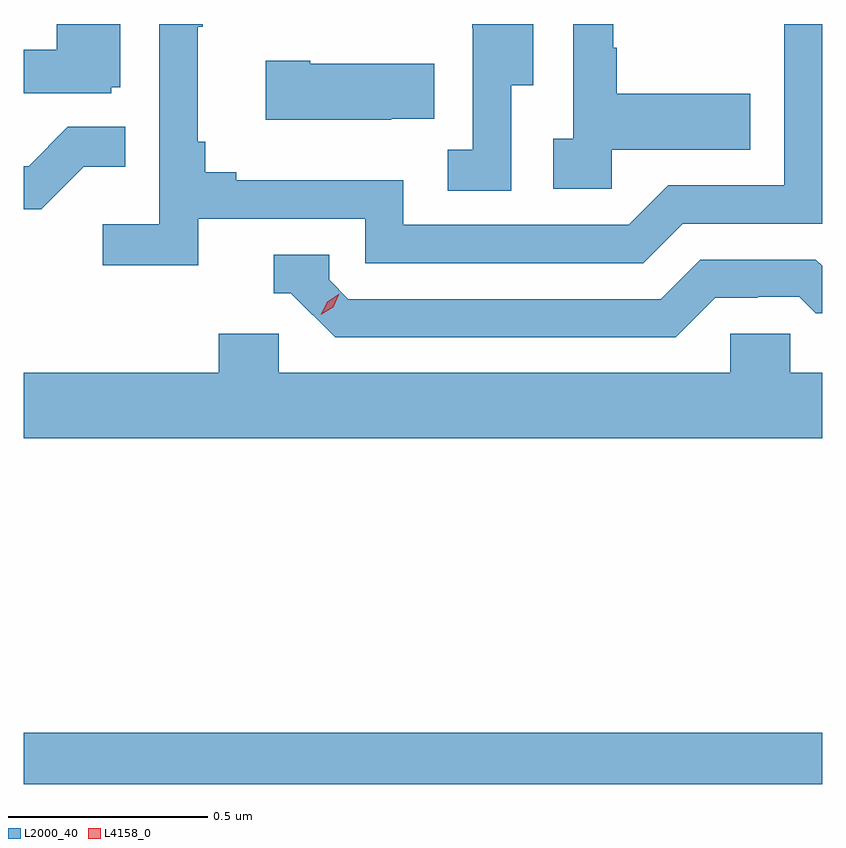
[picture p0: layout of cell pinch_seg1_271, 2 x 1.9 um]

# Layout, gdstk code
import gdstk
lib = gdstk.Library(unit=1e-6, precision=1e-09)
def R(c, l, rs):  # rectangles x0, y0, x1, y1
    for r in rs: c.add(gdstk.rectangle(r[:2], r[2:], *l))
def P(c, l, *ps):  # polygons
    for p in ps: c.add(gdstk.Polygon(p, *l))
L2000_40 = (2000, 40)
L4158_0 = (4158, 0)

pinch_seg1_271 = lib.new_cell('pinch_seg1_271')
R(pinch_seg1_271, L2000_40, [(939.153,580.17,941.153,580.298)])
P(pinch_seg1_271, L2000_40, [(940.626,581.759),(940.973,581.759),(940.973,581.899),(940.639,581.899),(940.639,582.014),(940.629,582.014),(940.629,582.074),(940.53,582.074),(940.53,581.786),(940.479,581.786),(940.479,581.661),(940.626,581.661)],
  [(940.374,581.92),(940.429,581.92),(940.429,582.074),(940.277,582.074),(940.277,582.063),(940.278,582.063),(940.278,581.759),(940.215,581.759),(940.215,581.656),(940.374,581.656)],
  [(939.372,581.916),(939.394,581.916),(939.394,582.074),(939.236,582.074),(939.236,582.01),(939.153,582.01),(939.153,581.901),(939.372,581.901)],
  [(939.59,581.586),(940.008,581.586),(940.008,581.475),(940.705,581.475),(940.804,581.574),(941.153,581.574),(941.153,582.074),(941.058,582.074),(941.058,581.67),(940.767,581.67),(940.668,581.571),(940.104,581.571),(940.104,581.683),(939.685,581.683),(939.685,581.702),(939.608,581.702),(939.608,581.779),(939.589,581.779),(939.589,582.067),(939.601,582.067),(939.601,582.074),(939.492,582.074),(939.492,581.572),(939.351,581.572),(939.351,581.47),(939.59,581.47)],
  [(940.073,581.837),(940.181,581.837),(940.181,581.974),(939.871,581.974),(939.871,581.982),(939.759,581.982),(939.759,581.834),(940.073,581.834)],
  [(939.303,581.717),(939.407,581.717),(939.407,581.816),(939.263,581.816),(939.165,581.718),(939.153,581.718),(939.153,581.61),(939.196,581.61)],
  [(940.885,581.388),(940.992,581.388),(940.992,581.391),(941.095,581.391),(941.137,581.349),(941.153,581.349),(941.153,581.468),(941.137,581.484),(940.848,581.484),(940.749,581.385),(939.966,581.385),(939.918,581.433),(939.918,581.496),(939.779,581.496),(939.779,581.4),(939.822,581.4),(939.933,581.289),(940.786,581.289)],
  [(941.153,581.2),(941.073,581.2),(941.073,581.298),(940.923,581.298),(940.923,581.2),(939.792,581.2),(939.792,581.298),(939.641,581.298),(939.641,581.2),(939.153,581.2),(939.153,581.036),(941.153,581.036)])
P(pinch_seg1_271, L4158_0, [(939.897,581.345),(939.897,581.345),(939.913,581.378),(939.943,581.398),(939.943,581.398),(939.943,581.398),(939.928,581.365),(939.897,581.345)])

lib.write_gds('pinch_seg1_271.gds')
